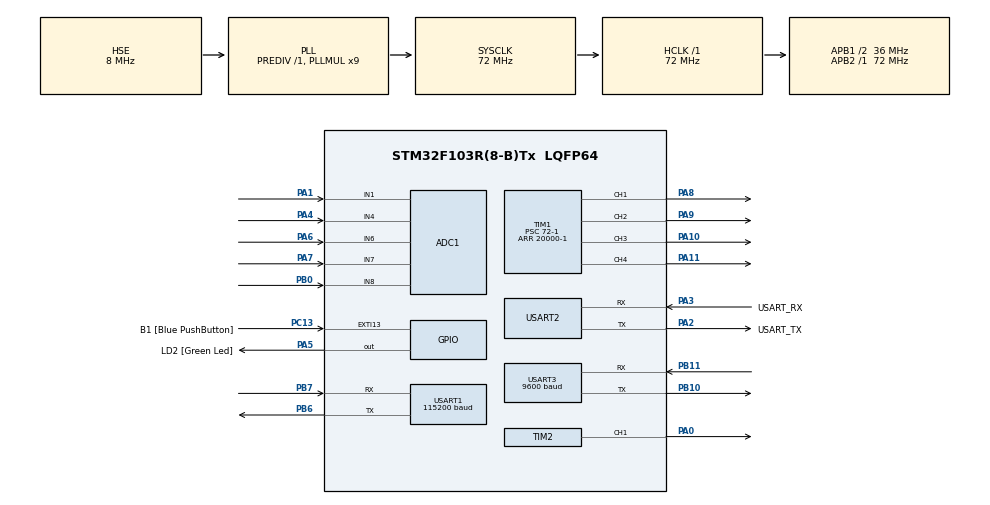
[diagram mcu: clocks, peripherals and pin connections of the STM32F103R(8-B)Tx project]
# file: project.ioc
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ADC1.Channel-0\#ChannelRegularConversion=ADC_CHANNEL_1
ADC1.Channel-1\#ChannelRegularConversion=ADC_CHANNEL_4
ADC1.Channel-2\#ChannelRegularConversion=ADC_CHANNEL_6
ADC1.Channel-3\#ChannelRegularConversion=ADC_CHANNEL_7
ADC1.Channel-4\#ChannelRegularConversion=ADC_CHANNEL_8
ADC1.ContinuousConvMode=ENABLE
ADC1.NbrOfConversion=5
ADC1.NbrOfConversionFlag=1
ADC1.Rank-0\#ChannelRegularConversion=1
ADC1.Rank-1\#ChannelRegularConversion=2
ADC1.Rank-2\#ChannelRegularConversion=3
ADC1.Rank-3\#ChannelRegularConversion=4
ADC1.Rank-4\#ChannelRegularConversion=5
ADC1.SamplingTime-0\#ChannelRegularConversion=ADC_SAMPLETIME_71CYCLES_5
ADC1.SamplingTime-1\#ChannelRegularConversion=ADC_SAMPLETIME_71CYCLES_5
ADC1.SamplingTime-2\#ChannelRegularConversion=ADC_SAMPLETIME_71CYCLES_5
ADC1.SamplingTime-3\#ChannelRegularConversion=ADC_SAMPLETIME_71CYCLES_5
ADC1.SamplingTime-4\#ChannelRegularConversion=ADC_SAMPLETIME_71CYCLES_5
ADC1.master=1
Dma.ADC1.0.Direction=DMA_PERIPH_TO_MEMORY
Dma.ADC1.0.Instance=DMA1_Channel1
Dma.ADC1.0.MemDataAlignment=DMA_MDATAALIGN_HALFWORD
Dma.ADC1.0.MemInc=DMA_MINC_ENABLE
Dma.ADC1.0.Mode=DMA_CIRCULAR
Dma.ADC1.0.PeriphDataAlignment=DMA_PDATAALIGN_HALFWORD
Dma.ADC1.0.PeriphInc=DMA_PINC_DISABLE
Dma.ADC1.0.Priority=DMA_PRIORITY_LOW
Dma.Request0=ADC1
Mcu.Family=STM32F1
Mcu.Name=STM32F103R(8-B)Tx
Mcu.Package=LQFP64
NVIC.ADC1_2_IRQn=true\:0\:0\:false\:false\:true\:true\:true\:true
NVIC.DMA1_Channel1_IRQn=true\:0\:0\:false\:false\:true\:false\:true\:true
NVIC.EXTI15_10_IRQn=true\:0\:0\:false\:false\:true\:true\:true\:true
NVIC.PriorityGroup=NVIC_PRIORITYGROUP_4
NVIC.USART1_IRQn=true\:0\:0\:false\:false\:true\:true\:true\:true
NVIC.USART2_IRQn=true\:0\:0\:false\:false\:true\:true\:true\:true
PA0-WKUP.Signal=S_TIM2_CH1_ETR
PA1.Signal=ADCx_IN1
PA10.Signal=S_TIM1_CH3
PA11.Signal=S_TIM1_CH4
PA13.GPIO_Label=TMS
PA13.Mode=Serial_Wire
PA13.Signal=SYS_JTMS-SWDIO
PA14.GPIO_Label=TCK
PA14.Mode=Serial_Wire
PA14.Signal=SYS_JTCK-SWCLK
PA2.GPIO_Label=USART_TX
PA2.GPIO_Mode=GPIO_MODE_AF_PP
PA2.GPIO_PuPd=GPIO_NOPULL
PA2.GPIO_Speed=GPIO_SPEED_FREQ_LOW
PA2.Mode=Asynchronous
PA2.Signal=USART2_TX
PA3.GPIO_Label=USART_RX
PA3.GPIO_Mode=GPIO_MODE_AF_PP
PA3.GPIO_PuPd=GPIO_NOPULL
PA3.GPIO_Speed=GPIO_SPEED_FREQ_LOW
PA3.Mode=Asynchronous
PA3.Signal=USART2_RX
PA4.Signal=ADCx_IN4
PA5.GPIO_Label=LD2 [Green Led]
PA5.GPIO_ModeDefaultOutputPP=GPIO_MODE_OUTPUT_PP
PA5.GPIO_PuPd=GPIO_NOPULL
PA5.GPIO_Speed=GPIO_SPEED_FREQ_LOW
PA5.Signal=GPIO_Output
PA6.Signal=ADCx_IN6
PA7.Signal=ADCx_IN7
PA8.Signal=S_TIM1_CH1
PA9.Signal=S_TIM1_CH2
PB0.Signal=ADCx_IN8
PB10.Mode=Asynchronous
PB10.Signal=USART3_TX
PB11.Mode=Asynchronous
PB11.Signal=USART3_RX
PB3.GPIO_Label=SWO
PB3.Signal=SYS_JTDO-TRACESWO
PB6.Mode=Asynchronous
PB6.Signal=USART1_TX
PB7.Mode=Asynchronous
PB7.Signal=USART1_RX
PC13-TAMPER-RTC.GPIO_Label=B1 [Blue PushButton]
PC13-TAMPER-RTC.GPIO_PuPd=GPIO_NOPULL
PC13-TAMPER-RTC.Signal=GPXTI13
PC14-OSC32_IN.Mode=LSE-External-Oscillator
PC14-OSC32_IN.Signal=RCC_OSC32_IN
PC15-OSC32_OUT.Mode=LSE-External-Oscillator
PC15-OSC32_OUT.Signal=RCC_OSC32_OUT
PD0-OSC_IN.Mode=HSE-External-Clock-Source
PD0-OSC_IN.Signal=RCC_OSC_IN
PD1-OSC_OUT.Mode=HSE-External-Clock-Source
PD1-OSC_OUT.Signal=RCC_OSC_OUT
ProjectManager.HeapSize=0x200
ProjectManager.StackSize=0x400
ProjectManager.TargetToolchain=STM32CubeIDE
RCC.ADCPresc=RCC_ADCPCLK2_DIV6
RCC.AHBFreq_Value=72000000
RCC.APB1CLKDivider=RCC_HCLK_DIV2
RCC.APB1Freq_Value=36000000
RCC.APB1TimFreq_Value=72000000
RCC.APB2Freq_Value=72000000
RCC.APB2TimFreq_Value=72000000
RCC.HCLKFreq_Value=72000000
RCC.PLLMUL=RCC_PLL_MUL9
RCC.PLLSourceVirtual=RCC_PLLSOURCE_HSE
RCC.RTCClockSelection=RCC_RTCCLKSOURCE_LSE
RCC.SYSCLKFreq_VALUE=72000000
RCC.SYSCLKSource=RCC_SYSCLKSOURCE_PLLCLK
RCC.USBFreq_Value=72000000
SH.ADCx_IN1.0=ADC1_IN1,IN1
SH.ADCx_IN4.0=ADC1_IN4,IN4
SH.ADCx_IN6.0=ADC1_IN6,IN6
SH.ADCx_IN7.0=ADC1_IN7,IN7
SH.ADCx_IN8.0=ADC1_IN8,IN8
SH.S_TIM1_CH1.0=TIM1_CH1,PWM Generation1 CH1
SH.S_TIM1_CH2.0=TIM1_CH2,PWM Generation2 CH2
SH.S_TIM1_CH3.0=TIM1_CH3,PWM Generation3 CH3
SH.S_TIM1_CH4.0=TIM1_CH4,PWM Generation4 CH4
SH.S_TIM2_CH1_ETR.0=TIM2_CH1,PWM Generation1 CH1
TIM1.AutoReloadPreload=TIM_AUTORELOAD_PRELOAD_ENABLE
TIM1.Channel-PWM\ Generation1\ CH1=TIM_CHANNEL_1
TIM1.Channel-PWM\ Generation2\ CH2=TIM_CHANNEL_2
TIM1.Channel-PWM\ Generation3\ CH3=TIM_CHANNEL_3
TIM1.Channel-PWM\ Generation4\ CH4=TIM_CHANNEL_4
TIM1.Period=20000-1
TIM1.Prescaler=72-1
TIM2.AutoReloadPreload=TIM_AUTORELOAD_PRELOAD_ENABLE
TIM2.Channel-PWM\ Generation1\ CH1=TIM_CHANNEL_1
TIM2.Period=20000-1
TIM2.Prescaler=72-1
USART1.BaudRate=115200
USART1.VirtualMode=VM_ASYNC
USART2.VirtualMode=VM_ASYNC
USART3.BaudRate=9600
USART3.VirtualMode=VM_ASYNC
VP_TIM1_VS_ClockSourceINT.Mode=Internal
VP_TIM2_VS_ClockSourceINT.Mode=Internal
board=NUCLEO-F103RB

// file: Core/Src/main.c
/* USER CODE BEGIN Header */
/**
  ******************************************************************************
  * @file           : main.c
  * @brief          : Main program body
  ******************************************************************************
  * @attention
  *
  * Copyright (c) 2025 STMicroelectronics.
  * All rights reserved.
  *
  * This software is licensed under terms that can be found in the LICENSE file
  * in the root directory of this software component.
  * If no LICENSE file comes with this software, it is provided AS-IS.
  *
  ******************************************************************************
  */
/* USER CODE END Header */
#include "main.h"

/* USER CODE BEGIN Includes */
#include <stdio.h>
#include <string.h>
#include <stdlib.h>
#include <math.h>
#include "ring_buffer.h"
/* USER CODE END Includes */

/* USER CODE BEGIN PTD */
typedef enum { TYPE_NONE=0, TYPE_CHO, TYPE_JUNG } InputType;

typedef struct { //입력된 자음 모음을 저장할 구조체
    InputType type; //타입이 초성인지 중성인지 종성인지
    int index; //실제 초성, 중성, 종성의 번호
} InputData;

typedef struct { //imu에서 데이터를 읽어서 저장할 구조체
    float roll, pitch, yaw; //자세(각도)
    float acc_x, acc_y, acc_z;  //가속도
    float gyro_x, gyro_y, gyro_z; //회전 각속도
    float mag_x, mag_y, mag_z; //자기장
} ImuData_t;

/* USER CODE END PTD */

/* USER CODE BEGIN PD */
#define STABLE_TIME 400
#define THRESHOLD 2000
#define MAX_INPUT 50

#define WT901C_RX_BUFFER_SIZE 1
#define WT_PACKET_SIZE        11
#define ACCEL_DATA_ID         0x51
#define GYRO_DATA_ID          0x52
#define ANGLE_DATA_ID         0x53
#define MAG_DATA_ID           0x54

// 서보모터 범위 (출력)
#define SERVO_MIN   500  // 0도, 폈을 때
#define SERVO_MAX   2500  // 180도, 구부렸을 때

// 센서 범위 (입력)
// (본인 센서 값: 2300=폄, 1600=굽힘)
#define ADC_FLAT    2300  // 0도일 때 센서 값
#define ADC_BENT    1600  // 180도일 때 센서 값
/* USER CODE END PD */

ADC_HandleTypeDef hadc1;
DMA_HandleTypeDef hdma_adc1;

TIM_HandleTypeDef htim1;
TIM_HandleTypeDef htim2;

UART_HandleTypeDef huart1;
UART_HandleTypeDef huart2;
UART_HandleTypeDef huart3;

/* USER CODE BEGIN PV */
/*** flex 변수 ***/
volatile uint16_t adc_values[5];
uint8_t rx_data_flex;
uint8_t send_flag = 0;

const int CHO_MAP[16] = {-1,0,2,3,5,6,7,9,11,12,14,15,16,17,18,-1};
const int JUNG_MAP[16] = {-1,0,2,4,6,8,12,13,17,18,20,1,5,-1,-1,-1};

InputData input_buffer[MAX_INPUT];
int input_idx = 0;

uint8_t sentence_buffer[100];
int sentence_idx = 0;

/*** IMU 변수 ***/
uint8_t wt901c_rx_buffer[1]; //imu에서 들어온 uart 8비트 임시 저장할 버퍼
RingBuffer imu_ring_buffer; //연속적으로 들어올 데이터 저장할 버퍼
ImuData_t imu_data = {0}; //최종 파싱된 값 저장
volatile uint8_t data_updated_flag = 0; //4종류 데이터 다 들어왔는지 체크할 플레그

volatile uint8_t send_count = 0;
volatile float assemble_roll = 0.0f;
volatile float curr;
volatile float base;
volatile float d;

/***자동완성 변수***/
typedef struct {
    const uint8_t *key;
    int key_len;
    const uint8_t *value;
    int value_len;
} MappingEntry;

//매핑 키
uint8_t key_annyeong[] = { 0xEC,0x95,0x88, 0xEB,0x85,0x95 }; // 안녕
uint8_t key_i[]    = {0xEC,0x9D,0xB4}; // 이
uint8_t key_an[]   = {0xEC,0x95,0x88}; // 안
uint8_t key_ip[]   = {0xEC,0x9E,0x85}; // 입
uint8_t key_iseung[] = {0xEC,0x9D,0xB4, 0xEC,0x8A,0xB9}; // 이승
uint8_t key_gamsa[]  = {0xEA,0xB0,0x90, 0xEC,0x82,0xAC}; // 감사

// 매핑 결과 값들
uint8_t val_annyeonghaseyo[] = { 0xEC,0x95,0x88, 0xEB,0x85,0x95, 0xED,0x95,0x98, 0xEC,0x84,0xB8, 0xEC,0x9A,0x94 }; // 안녕하세요
uint8_t val_i[]      = { 0xEC,0x9D,0xB4, 0xEC,0x9D,0x80, 0xEC,0xA7,0x80 }; // 이은지
uint8_t val_an[]     = { 0xEC,0x95,0x88, 0xED,0x95,0x9C, 0xEC,0x98,0x81 }; // 안한영
uint8_t val_ip[]     = { 0xEC,0x9E,0x85, 0xEB,0x8B,0x88, 0xEB,0x8B,0xA4 }; // 입니다
uint8_t val_iseung[] = { 0xEC,0x9D,0xB4, 0xEC,0x8A,0xB9, 0xED,0x99,0x98, 0xEA,0xB5,0x90, 0xEC,0x88,0x98, 0xEB,0x8B,0x98 }; // 이승환교수님
uint8_t val_gamsa[]  = { 0xEA,0xB0,0x90, 0xEC,0x82,0xAC, 0xED,0x95,0xA9, 0xEB,0x8B,0x88, 0xEB,0x8B,0xA4 }; // 감사합니다

MappingEntry table[] = {
    { key_annyeong, sizeof(key_annyeong), val_annyeonghaseyo, sizeof(val_annyeonghaseyo) },
    { key_i,        sizeof(key_i),        val_i,        sizeof(val_i)        },
    { key_an,       sizeof(key_an),       val_an,       sizeof(val_an)       },
    { key_ip,       sizeof(key_ip),       val_ip,       sizeof(val_ip)       },
    { key_iseung,   sizeof(key_iseung),   val_iseung,   sizeof(val_iseung)   },
    { key_gamsa,    sizeof(key_gamsa),    val_gamsa,    sizeof(val_gamsa)    }
};
int mapping_count = sizeof(table) / sizeof(table[0]);

//블루투스 전송을 위한 매핑
// 단독 초성 UTF-8 (최종 충돌 회피용 값으로 대체)
const uint8_t CHO_UTF8[19][3] = {
    {0xE3,0x84,0xB1},  // 0: ㄱ (U+3131)
    {0,0,0},           // 1: ㄲ (미사용)
    {0xE3,0x84,0xB4},  // 2: ㄴ (U+3134)
    {0xE3,0x84,0xB7},  // 3: ㄷ (U+3137)
    {0,0,0},           // 4: ㄸ (미사용)
    {0xE3,0x84,0xB9},  // 5: ㄹ (U+3139)
   {0xE1,0x84,0x86},  // 5: ㅁ (대체)
   {0xE1,0x84,0x87},  // 6: ㅂ (대체)
    {0,0,0},           // 8: ㅃ (미사용)
   {0xE1,0x84,0x89},  // 7: ㅅ (대체)
    {0,0,0},           // 10: ㅆ (미사용)
    {0xE3,0x85,0x87},  // 11: ㅇ (U+3147)
    {0xE3,0x85,0x88},  // 12: ㅈ (U+3148)
    {0,0,0},           // 13: ㅉ (미사용)
    {0xE3,0x85,0x8A},  // 14: ㅊ (U+314A)
    {0xE3,0x85,0x8B},  // 15: ㅋ (U+314B)
    {0xE3,0x85,0x8C},  // 16: ㅌ (U+314C)
    {0xE3,0x85,0x8D},  // 17: ㅍ (U+314D)
    {0xE3,0x85,0x8E}   // 18: ㅎ (U+314E)
};

//단독 중성 UTF-8
const uint8_t JUNG_UTF8[21][3] = {
    {0xE3,0x85,0x8F}, {0xE3,0x85,0x90}, {0xE3,0x85,0x91}, {0xE3,0x85,0x92}, {0xE3,0x85,0x93},  // 0:ㅏ 1:ㅐ 2:ㅑ 3:ㅒ 4:ㅓ
    {0xE3,0x85,0x94}, {0xE3,0x85,0x95}, {0xE3,0x85,0x96}, {0xE3,0x85,0x97}, {0xE3,0x85,0x98},  // 5:ㅔ 6:ㅕ 7:ㅖ 8:ㅗ 9:ㅘ
    {0xE3,0x85,0x99}, {0xE3,0x85,0x9A}, {0xE3,0x85,0x9B}, {0xE3,0x85,0x9C}, {0xE3,0x85,0x9D},  // 10:ㅙ 11:ㅚ 12:ㅛ 13:ㅜ 14:ㅝ
    {0xE3,0x85,0x9E}, {0xE3,0x85,0x9F}, {0xE3,0x85,0xA0}, {0xE3,0x85,0xA1}, {0xE3,0x85,0xA2},  // 15:ㅞ 16:ㅟ 17:ㅠ 18:ㅡ 19:ㅢ
    {0xE3,0x85,0xA3}                                                                           // 20:ㅣ
};

/* USER CODE END PV */

void SystemClock_Config(void);
static void MX_GPIO_Init(void);
static void MX_DMA_Init(void);
static void MX_USART2_UART_Init(void);
static void MX_ADC1_Init(void);
static void MX_USART1_UART_Init(void);
static void MX_TIM1_Init(void);
static void MX_TIM2_Init(void);
static void MX_USART3_UART_Init(void);
/* USER CODE BEGIN PFP */
/*** FLEX ***/
int get_finger_pattern(void);
void process_hand_gesture(void);
void assemble_and_send(void);
int cho_to_jong(int cho_idx);
void make_hangul_utf8(int cho, int jung, int jong, uint8_t* buf);

/*** IMU ***/
static void parse_imu_packets(void);

/*** 로봇손 동작제어 ***/
void update_robot_hand_linear(void);
long map(long x, long in_min, long in_max, long out_min, long out_max);
long constrain(long x, long a, long b);
/* USER CODE END PFP */

int main(void)
{

  /* MCU Configuration--------------------------------------------------------*/

  /* Reset of all peripherals, Initializes the Flash interface and the Systick. */
  HAL_Init();

  /* Configure the system clock */
  SystemClock_Config();

  /* Initialize all configured peripherals */
  MX_GPIO_Init();
  MX_DMA_Init();
  MX_USART2_UART_Init();
  MX_ADC1_Init();
  MX_USART1_UART_Init();
  MX_TIM1_Init();
  MX_TIM2_Init();
  MX_USART3_UART_Init();
  /* USER CODE BEGIN 2 */
  //FLEX 센서
  //5개 ADC를 DMA로 계속 읽음
  HAL_ADC_Start_DMA(&hadc1, (uint32_t*)adc_values, 5);
  HAL_UART_Receive_IT(&huart2, &rx_data_flex, 1); //PC 통신
  // IMU 센서
  //UART1으로 센서 값 받음
  RingBuffer_Init(&imu_ring_buffer); //링버퍼 초기화
  HAL_UART_Receive_IT(&huart1, wt901c_rx_buffer, 1); //UART 수신 대기 상태

  //IMU Write protocol
  // 1. Unlock
  uint8_t cmd_unlock[] = {0xFF, 0xAA, 0x69, 0x88, 0xB5};
  HAL_UART_Transmit(&huart1, cmd_unlock, 5, 100);
  HAL_Delay(100);

  // 2. 원하는 설정 변경 (예: 100Hz)
  uint8_t cmd_set_rate[] = {0xFF, 0xAA, 0x03, 0x0B, 0x00};
  HAL_UART_Transmit(&huart1, cmd_set_rate, 5, 100);
  HAL_Delay(100);

  uint8_t cmd_baud_rate[] = {0xFF, 0xAA, 0x04, 0x06, 0x00};
  HAL_UART_Transmit(&huart1, cmd_baud_rate, 5, 100);
  HAL_Delay(100);

  // 3. 변경된 설정 저장
  uint8_t cmd_save[] = {0xFF, 0xAA, 0x00, 0x00, 0x00};
  HAL_UART_Transmit(&huart1, cmd_save, 5, 100);
  HAL_Delay(100);

  // TIM1 (PA8, PA9, PA10, PA11)
  HAL_TIM_PWM_Start(&htim1, TIM_CHANNEL_1); // 엄저
  HAL_TIM_PWM_Start(&htim1, TIM_CHANNEL_2); // 검지
  HAL_TIM_PWM_Start(&htim1, TIM_CHANNEL_3); // 중지
  HAL_TIM_PWM_Start(&htim1, TIM_CHANNEL_4); // 약지

  // TIM2 (PA0)
  HAL_TIM_PWM_Start(&htim2, TIM_CHANNEL_1); // 새끼
  /* USER CODE END 2 */

  /* Infinite loop */
  /* USER CODE BEGIN WHILE */
  while (1)
  {
   // FLEX 센서
   process_hand_gesture(); // 손가락 패턴 읽고 2초 유지되면 자음이나 모음 하나를 input_buffer에 추가하는 동작을 함.

   if (send_flag == 1) //UART2에 1이 들어오면
   {
      send_flag = 0;
      assemble_and_send(); //지금까지 등록된 자음과 모음을 한글로 조합함.
      input_idx = 0;
      memset(input_buffer, 0, sizeof(input_buffer));

      //글자 조합할 때 roll 값 저장
      assemble_roll=imu_data.roll;
      send_count =0;
   }

   else if (send_flag == 2)
   {
       HAL_UART_Transmit(&huart2, (uint8_t*)"2\n", 2, 100);

       send_flag = 0;
       send_count =0;

       int eff_len = sentence_idx;

       //공백, 띄어쓰기 제거
       while (eff_len > 0 &&
             (sentence_buffer[eff_len - 1] == '\r' ||
              sentence_buffer[eff_len - 1] == '\n' ||
              sentence_buffer[eff_len - 1] == ' '))
       {
           eff_len--;
       }

       int replaced = 0;
       for (int i = 0; i < mapping_count; i++)
       {
          // 단축키일 때 전송
           if (eff_len == table[i].key_len &&
               memcmp(sentence_buffer, table[i].key, table[i].key_len) == 0) //키일 때
           {
               HAL_UART_Transmit(&huart2, table[i].value, table[i].value_len, 100);
               HAL_UART_Transmit(&huart3, table[i].value, table[i].value_len, 100);

               HAL_UART_Transmit(&huart2, (uint8_t*)"\r\n", 2, 100);
//               HAL_UART_Transmit(&huart3, (uint8_t*)"\r\n", 2, 100);
               replaced = 1;
               break;
           }
       }

       //기본 전송
       if (!replaced)
       {
           HAL_UART_Transmit(&huart2, sentence_buffer, eff_len, 100);
           HAL_UART_Transmit(&huart3, sentence_buffer, eff_len, 100);

           HAL_UART_Transmit(&huart2, (uint8_t*)"\r\n", 2, 100);
//           HAL_UART_Transmit(&huart3, (uint8_t*)"\r\n", 2, 100);

           HAL_Delay(100);
       }

       sentence_idx = 0;
       memset(sentence_buffer, 0, sizeof(sentence_buffer));
       send_count=0;
   }

   // IMU 센서
   parse_imu_packets(); //파싱 함수 호출. uart로 들어온 연속적인 데이터를 패킷 단위로 파싱.

   HAL_Delay(5);

   // IMU roll 기능
   curr= imu_data.roll;
   base = assemble_roll;

   d=curr-base;

   if(fabs(d)>=180.0f){
      send_count=1;
   }

   if(send_count) {
      send_flag=2;
   }

    /* USER CODE END WHILE */

  }
}

void SystemClock_Config(void)
{
  RCC_OscInitTypeDef RCC_OscInitStruct = {0};
  RCC_ClkInitTypeDef RCC_ClkInitStruct = {0};
  RCC_PeriphCLKInitTypeDef PeriphClkInit = {0};

  /** Initializes the RCC Oscillators according to the specified parameters
  * in the RCC_OscInitTypeDef structure.
  */
  RCC_OscInitStruct.OscillatorType = RCC_OSCILLATORTYPE_HSE;
  RCC_OscInitStruct.HSEState = RCC_HSE_BYPASS;
  RCC_OscInitStruct.HSEPredivValue = RCC_HSE_PREDIV_DIV1;
  RCC_OscInitStruct.HSIState = RCC_HSI_ON;
  RCC_OscInitStruct.PLL.PLLState = RCC_PLL_ON;
  RCC_OscInitStruct.PLL.PLLSource = RCC_PLLSOURCE_HSE;
  RCC_OscInitStruct.PLL.PLLMUL = RCC_PLL_MUL9;
  if (HAL_RCC_OscConfig(&RCC_OscInitStruct) != HAL_OK)
  {
    Error_Handler();
  }

  /** Initializes the CPU, AHB and APB buses clocks
  */
  RCC_ClkInitStruct.ClockType = RCC_CLOCKTYPE_HCLK|RCC_CLOCKTYPE_SYSCLK
                              |RCC_CLOCKTYPE_PCLK1|RCC_CLOCKTYPE_PCLK2;
  RCC_ClkInitStruct.SYSCLKSource = RCC_SYSCLKSOURCE_PLLCLK;
  RCC_ClkInitStruct.AHBCLKDivider = RCC_SYSCLK_DIV1;
  RCC_ClkInitStruct.APB1CLKDivider = RCC_HCLK_DIV2;
  RCC_ClkInitStruct.APB2CLKDivider = RCC_HCLK_DIV1;

  if (HAL_RCC_ClockConfig(&RCC_ClkInitStruct, FLASH_LATENCY_2) != HAL_OK)
  {
    Error_Handler();
  }
  PeriphClkInit.PeriphClockSelection = RCC_PERIPHCLK_ADC;
  PeriphClkInit.AdcClockSelection = RCC_ADCPCLK2_DIV6;
  if (HAL_RCCEx_PeriphCLKConfig(&PeriphClkInit) != HAL_OK)
  {
    Error_Handler();
  }
}

static void MX_ADC1_Init(void)
{

  ADC_ChannelConfTypeDef sConfig = {0};

  /** Common config
  */
  hadc1.Instance = ADC1;
  hadc1.Init.ScanConvMode = ADC_SCAN_ENABLE;
  hadc1.Init.ContinuousConvMode = ENABLE;
  hadc1.Init.DiscontinuousConvMode = DISABLE;
  hadc1.Init.ExternalTrigConv = ADC_SOFTWARE_START;
  hadc1.Init.DataAlign = ADC_DATAALIGN_RIGHT;
  hadc1.Init.NbrOfConversion = 5;
  if (HAL_ADC_Init(&hadc1) != HAL_OK)
  {
    Error_Handler();
  }

  /** Configure Regular Channel
  */
  sConfig.Channel = ADC_CHANNEL_1;
  sConfig.Rank = ADC_REGULAR_RANK_1;
  sConfig.SamplingTime = ADC_SAMPLETIME_71CYCLES_5;
  if (HAL_ADC_ConfigChannel(&hadc1, &sConfig) != HAL_OK)
  {
    Error_Handler();
  }

  /** Configure Regular Channel
  */
  sConfig.Channel = ADC_CHANNEL_4;
  sConfig.Rank = ADC_REGULAR_RANK_2;
  if (HAL_ADC_ConfigChannel(&hadc1, &sConfig) != HAL_OK)
  {
    Error_Handler();
  }

  /** Configure Regular Channel
  */
  sConfig.Channel = ADC_CHANNEL_6;
  sConfig.Rank = ADC_REGULAR_RANK_3;
  if (HAL_ADC_ConfigChannel(&hadc1, &sConfig) != HAL_OK)
  {
    Error_Handler();
  }

  /** Configure Regular Channel
  */
  sConfig.Channel = ADC_CHANNEL_7;
  sConfig.Rank = ADC_REGULAR_RANK_4;
  if (HAL_ADC_ConfigChannel(&hadc1, &sConfig) != HAL_OK)
  {
    Error_Handler();
  }

  /** Configure Regular Channel
  */
  sConfig.Channel = ADC_CHANNEL_8;
  sConfig.Rank = ADC_REGULAR_RANK_5;
  if (HAL_ADC_ConfigChannel(&hadc1, &sConfig) != HAL_OK)
  {
    Error_Handler();
  }

}

static void MX_TIM1_Init(void)
{

  TIM_ClockConfigTypeDef sClockSourceConfig = {0};
  TIM_MasterConfigTypeDef sMasterConfig = {0};
  TIM_OC_InitTypeDef sConfigOC = {0};
  TIM_BreakDeadTimeConfigTypeDef sBreakDeadTimeConfig = {0};

  htim1.Instance = TIM1;
  htim1.Init.Prescaler = 72-1;
  htim1.Init.CounterMode = TIM_COUNTERMODE_UP;
  htim1.Init.Period = 20000-1;
  htim1.Init.ClockDivision = TIM_CLOCKDIVISION_DIV1;
  htim1.Init.RepetitionCounter = 0;
  htim1.Init.AutoReloadPreload = TIM_AUTORELOAD_PRELOAD_ENABLE;
  if (HAL_TIM_Base_Init(&htim1) != HAL_OK)
  {
    Error_Handler();
  }
  sClockSourceConfig.ClockSource = TIM_CLOCKSOURCE_INTERNAL;
  if (HAL_TIM_ConfigClockSource(&htim1, &sClockSourceConfig) != HAL_OK)
  {
    Error_Handler();
  }
  if (HAL_TIM_PWM_Init(&htim1) != HAL_OK)
  {
    Error_Handler();
  }
  sMasterConfig.MasterOutputTrigger = TIM_TRGO_RESET;
  sMasterConfig.MasterSlaveMode = TIM_MASTERSLAVEMODE_DISABLE;
  if (HAL_TIMEx_MasterConfigSynchronization(&htim1, &sMasterConfig) != HAL_OK)
  {
    Error_Handler();
  }
  sConfigOC.OCMode = TIM_OCMODE_PWM1;
  sConfigOC.Pulse = 0;
  sConfigOC.OCPolarity = TIM_OCPOLARITY_HIGH;
  sConfigOC.OCNPolarity = TIM_OCNPOLARITY_HIGH;
  sConfigOC.OCFastMode = TIM_OCFAST_DISABLE;
  sConfigOC.OCIdleState = TIM_OCIDLESTATE_RESET;
  sConfigOC.OCNIdleState = TIM_OCNIDLESTATE_RESET;
  if (HAL_TIM_PWM_ConfigChannel(&htim1, &sConfigOC, TIM_CHANNEL_1) != HAL_OK)
  {
    Error_Handler();
  }
  if (HAL_TIM_PWM_ConfigChannel(&htim1, &sConfigOC, TIM_CHANNEL_2) != HAL_OK)
  {
    Error_Handler();
  }
  if (HAL_TIM_PWM_ConfigChannel(&htim1, &sConfigOC, TIM_CHANNEL_3) != HAL_OK)
  {
    Error_Handler();
  }
  if (HAL_TIM_PWM_ConfigChannel(&htim1, &sConfigOC, TIM_CHANNEL_4) != HAL_OK)
  {
    Error_Handler();
  }
  sBreakDeadTimeConfig.OffStateRunMode = TIM_OSSR_DISABLE;
  sBreakDeadTimeConfig.OffStateIDLEMode = TIM_OSSI_DISABLE;
  sBreakDeadTimeConfig.LockLevel = TIM_LOCKLEVEL_OFF;
  sBreakDeadTimeConfig.DeadTime = 0;
  sBreakDeadTimeConfig.BreakState = TIM_BREAK_DISABLE;
  sBreakDeadTimeConfig.BreakPolarity = TIM_BREAKPOLARITY_HIGH;
  sBreakDeadTimeConfig.AutomaticOutput = TIM_AUTOMATICOUTPUT_DISABLE;
  if (HAL_TIMEx_ConfigBreakDeadTime(&htim1, &sBreakDeadTimeConfig) != HAL_OK)
  {
    Error_Handler();
  }
  HAL_TIM_MspPostInit(&htim1);

}

static void MX_TIM2_Init(void)
{

  TIM_ClockConfigTypeDef sClockSourceConfig = {0};
  TIM_MasterConfigTypeDef sMasterConfig = {0};
  TIM_OC_InitTypeDef sConfigOC = {0};

  htim2.Instance = TIM2;
  htim2.Init.Prescaler = 72-1;
  htim2.Init.CounterMode = TIM_COUNTERMODE_UP;
  htim2.Init.Period = 20000-1;
  htim2.Init.ClockDivision = TIM_CLOCKDIVISION_DIV1;
  htim2.Init.AutoReloadPreload = TIM_AUTORELOAD_PRELOAD_ENABLE;
  if (HAL_TIM_Base_Init(&htim2) != HAL_OK)
  {
    Error_Handler();
  }
  sClockSourceConfig.ClockSource = TIM_CLOCKSOURCE_INTERNAL;
  if (HAL_TIM_ConfigClockSource(&htim2, &sClockSourceConfig) != HAL_OK)
  {
    Error_Handler();
  }
  if (HAL_TIM_PWM_Init(&htim2) != HAL_OK)
  {
    Error_Handler();
  }
  sMasterConfig.MasterOutputTrigger = TIM_TRGO_RESET;
  sMasterConfig.MasterSlaveMode = TIM_MASTERSLAVEMODE_DISABLE;
  if (HAL_TIMEx_MasterConfigSynchronization(&htim2, &sMasterConfig) != HAL_OK)
  {
    Error_Handler();
  }
  sConfigOC.OCMode = TIM_OCMODE_PWM1;
  sConfigOC.Pulse = 0;
  sConfigOC.OCPolarity = TIM_OCPOLARITY_HIGH;
  sConfigOC.OCFastMode = TIM_OCFAST_DISABLE;
  if (HAL_TIM_PWM_ConfigChannel(&htim2, &sConfigOC, TIM_CHANNEL_1) != HAL_OK)
  {
    Error_Handler();
  }
  HAL_TIM_MspPostInit(&htim2);

}

static void MX_USART1_UART_Init(void)
{

  huart1.Instance = USART1;
  huart1.Init.BaudRate = 115200;
  huart1.Init.WordLength = UART_WORDLENGTH_8B;
  huart1.Init.StopBits = UART_STOPBITS_1;
  huart1.Init.Parity = UART_PARITY_NONE;
  huart1.Init.Mode = UART_MODE_TX_RX;
  huart1.Init.HwFlowCtl = UART_HWCONTROL_NONE;
  huart1.Init.OverSampling = UART_OVERSAMPLING_16;
  if (HAL_UART_Init(&huart1) != HAL_OK)
  {
    Error_Handler();
  }

}

static void MX_USART2_UART_Init(void)
{

  huart2.Instance = USART2;
  huart2.Init.BaudRate = 115200;
  huart2.Init.WordLength = UART_WORDLENGTH_8B;
  huart2.Init.StopBits = UART_STOPBITS_1;
  huart2.Init.Parity = UART_PARITY_NONE;
  huart2.Init.Mode = UART_MODE_TX_RX;
  huart2.Init.HwFlowCtl = UART_HWCONTROL_NONE;
  huart2.Init.OverSampling = UART_OVERSAMPLING_16;
  if (HAL_UART_Init(&huart2) != HAL_OK)
  {
    Error_Handler();
  }

}

static void MX_USART3_UART_Init(void)
{

  huart3.Instance = USART3;
  huart3.Init.BaudRate = 9600;
  huart3.Init.WordLength = UART_WORDLENGTH_8B;
  huart3.Init.StopBits = UART_STOPBITS_1;
  huart3.Init.Parity = UART_PARITY_NONE;
  huart3.Init.Mode = UART_MODE_TX_RX;
  huart3.Init.HwFlowCtl = UART_HWCONTROL_NONE;
  huart3.Init.OverSampling = UART_OVERSAMPLING_16;
  if (HAL_UART_Init(&huart3) != HAL_OK)
  {
    Error_Handler();
  }

}

static void MX_DMA_Init(void)
{

  /* DMA controller clock enable */
  __HAL_RCC_DMA1_CLK_ENABLE();

  /* DMA interrupt init */
  /* DMA1_Channel1_IRQn interrupt configuration */
  HAL_NVIC_SetPriority(DMA1_Channel1_IRQn, 0, 0);
  HAL_NVIC_EnableIRQ(DMA1_Channel1_IRQn);

}

static void MX_GPIO_Init(void)
{
  GPIO_InitTypeDef GPIO_InitStruct = {0};

  /* GPIO Ports Clock Enable */
  __HAL_RCC_GPIOC_CLK_ENABLE();
  __HAL_RCC_GPIOD_CLK_ENABLE();
  __HAL_RCC_GPIOA_CLK_ENABLE();
  __HAL_RCC_GPIOB_CLK_ENABLE();

  /*Configure GPIO pin Output Level */
  HAL_GPIO_WritePin(LD2_GPIO_Port, LD2_Pin, GPIO_PIN_RESET);

  /*Configure GPIO pin : B1_Pin */
  GPIO_InitStruct.Pin = B1_Pin;
  GPIO_InitStruct.Mode = GPIO_MODE_IT_RISING;
  GPIO_InitStruct.Pull = GPIO_NOPULL;
  HAL_GPIO_Init(B1_GPIO_Port, &GPIO_InitStruct);

  /*Configure GPIO pin : LD2_Pin */
  GPIO_InitStruct.Pin = LD2_Pin;
  GPIO_InitStruct.Mode = GPIO_MODE_OUTPUT_PP;
  GPIO_InitStruct.Pull = GPIO_NOPULL;
  GPIO_InitStruct.Speed = GPIO_SPEED_FREQ_LOW;
  HAL_GPIO_Init(LD2_GPIO_Port, &GPIO_InitStruct);

  /* EXTI interrupt init*/
  HAL_NVIC_SetPriority(EXTI15_10_IRQn, 0, 0);
  HAL_NVIC_EnableIRQ(EXTI15_10_IRQn);

}

/* USER CODE BEGIN 4 */
void HAL_UART_RxCpltCallback(UART_HandleTypeDef *huart)
{

    // IMU UART1
    if (huart->Instance == USART1)
    {
        RingBuffer_Write(&imu_ring_buffer, wt901c_rx_buffer[0]);
        //RingBuffer_Write() 함수 호출. imu가 보낸 신호 wt901c_rx_buffer[0] 값을 &imu_ring_buffer에 저장.
        HAL_UART_Receive_IT(&huart1, wt901c_rx_buffer, 1);
    }
}

//IMU 파싱코드

void parse_imu_packets(void)
{
    uint8_t header[2];
    uint8_t data_bytes[8];
    uint8_t sum;
    uint8_t check_sum = 0;

    // 패킷 헤더(0x55)가 나타날 때까지 링버퍼를 읽음
    while (RingBuffer_GetCount(&imu_ring_buffer) >= WT_PACKET_SIZE)
    {
       //RingBuffer_GetCount() 함수: 콜백함수에서 입력 받은 &imu_ring_buffer가 WT_PACKET_SIZE, 11바이트일 경우 실행

       //RingBuffer_Peek() 함수: 링버퍼 안에서 꺼내지 않고 특정 위치의 값을 미리 보는 함수
        header[0] = RingBuffer_Peek(&imu_ring_buffer, 0); //첫번째 바이트 확인해서 header[0]에 넣기
        header[1] = RingBuffer_Peek(&imu_ring_buffer, 1); //두번째 바이트 확인해서 header[1]에 넣기

        if (header[0] != 0x55) //첫 바이트, 헤더가 0x55가 아닐 경우 검사
        {
            RingBuffer_Read(&imu_ring_buffer); // 잘못된 헤더면 한 바이트 버림
            continue;
        }

        // 헤더 두 바이트 버림
        RingBuffer_Read(&imu_ring_buffer);
        RingBuffer_Read(&imu_ring_buffer);

        //체크 썸 시작
        check_sum = header[0] + header[1];

        // 8바이트 데이터와 1바이트 체크섬 읽기
        for (int i = 0; i < 8; i++)
        {
            if (RingBuffer_IsEmpty(&imu_ring_buffer)) return;
            data_bytes[i] = RingBuffer_Read(&imu_ring_buffer);
            //&imu_ring_buffer 값 읽어서 전부 data_bytes[] 배열에 넣음
            check_sum += data_bytes[i];
            //체크썸 계산에 포함
        }

        if (RingBuffer_IsEmpty(&imu_ring_buffer)) return;
        sum = RingBuffer_Read(&imu_ring_buffer);

        if (check_sum != sum) //계산한 체크썸이랑 sum이랑 다르면 잘못된 패킷. 버림.
           continue;

        //DATAL, DATAH 결합해서 16bit raw Data 만들기
        int16_t x_raw = (data_bytes[1] << 8) | data_bytes[0];
        int16_t y_raw = (data_bytes[3] << 8) | data_bytes[2];
        int16_t z_raw = (data_bytes[5] << 8) | data_bytes[4];

        //TYPE 값 따라 데이터 계산하도록
        switch (header[1])
        {
            case ANGLE_DATA_ID: //0x53
                imu_data.roll  = x_raw / 32768.0f * 180.0f;
                imu_data.pitch = y_raw / 32768.0f * 180.0f;
                imu_data.yaw   = z_raw / 32768.0f * 180.0f;
                data_updated_flag |= 0x01;
                break;

            case ACCEL_DATA_ID: //0x51
                imu_data.acc_x = x_raw / 32768.0f * 16.0f;
                imu_data.acc_y = y_raw / 32768.0f * 16.0f;
                imu_data.acc_z = z_raw / 32768.0f * 16.0f;
                data_updated_flag |= 0x02;
                break;

            case GYRO_DATA_ID: //0x52
                imu_data.gyro_x = x_raw / 32768.0f * 2000.0f;
                imu_data.gyro_y = y_raw / 32768.0f * 2000.0f;
                imu_data.gyro_z = z_raw / 32768.0f * 2000.0f;
                data_updated_flag |= 0x04;
                break;

            case MAG_DATA_ID: //0x54
                imu_data.mag_x = x_raw / 32768.0f * 4912.0f;
                imu_data.mag_y = y_raw / 32768.0f * 4912.0f;
                imu_data.mag_z = z_raw / 32768.0f * 4912.0f;
                data_updated_flag |= 0x08;
                break;
        }
    }
}

/*******************************************************************************
   FLEX 기능
*******************************************************************************/
int get_finger_pattern(void)
{
   //각 adc마다 문턱전압 1.6V 이하로 내려가면 = 굽힘 = 패턴 값 바꿈
    int pattern = 0;
    if (adc_values[1] < THRESHOLD) pattern |= 1; //0001
    if (adc_values[2] < THRESHOLD) pattern |= 2; //0010
    if (adc_values[3] < THRESHOLD * 0.9) pattern |= 4; //0100
    if (adc_values[4] < THRESHOLD) pattern |= 8; //1000
    return pattern;
    // 1번(검지) 2번(중지) 굽히면 0001+0010=0011, 즉 패턴 3번.
}

void process_hand_gesture(void)
{
   update_robot_hand_linear();

    if (adc_values[0] < THRESHOLD &&  // 엄지
        adc_values[1] < THRESHOLD &&  // 검지
        adc_values[2] < THRESHOLD &&  // 중지
        adc_values[3] < THRESHOLD &&  // 약지
        adc_values[4] < THRESHOLD)    // 새끼
    {
        send_flag = 1;
        return;   // 자음·모음 인식 코드 실행 안 함
    }

    static int last_pattern = 0;
    static int last_mode = -1;
    static uint32_t stable_start_tick = 0;
    static int is_registered = 0;

    //get_finger_pattern 함수에서 패턴 값 받아옴.
    int curr_pattern = get_finger_pattern();
    //0번(엄지) 값으로 mode 결정
    int curr_mode = (adc_values[0] < THRESHOLD);

    //전부 펼친 상태. 리셋.
    if (curr_pattern == 0)
    {
        last_pattern = 0;
        last_mode = -1;
        stable_start_tick = 0;
        is_registered = 0;
        return;
    }

    if (curr_pattern == last_pattern && curr_mode == last_mode)
    {
       //현재 패턴이 지난 패턴과 동일한 지 확인.
        if (is_registered == 0)
        {
            if (HAL_GetTick() - stable_start_tick >= STABLE_TIME)
               //그 상태가 2초동안 유지되면 입력으로 판단함.
            {
                if (input_idx < MAX_INPUT)
                {
                    int mapped_idx = -1;
                    InputType type = TYPE_NONE;

                    //adc_values[0]으로 자음 모음 타입 구분
                    if (curr_mode == 0)
                    {
                        mapped_idx = CHO_MAP[curr_pattern];
                        type = TYPE_CHO;
                    }
                    else
                    {
                        mapped_idx = JUNG_MAP[curr_pattern];
                        type = TYPE_JUNG;
                    }

                    if (mapped_idx != -1)
                    {
                        input_buffer[input_idx].type = type;
                        input_buffer[input_idx].index = mapped_idx;
                        input_idx++;

                        ///////////바로바로 자음 모음 전송///////////
                        if (type == TYPE_CHO)
                        {
                            HAL_UART_Transmit(&huart2, CHO_UTF8[mapped_idx], 3, 100);
                        }
                        else if (type == TYPE_JUNG)
                        {
                            HAL_UART_Transmit(&huart2, JUNG_UTF8[mapped_idx], 3, 100);
                        }
                    }
                }
                is_registered = 1;
            }
        }
    }

    //손 모양이 바꼈을 경우, 새로운 입력 시작
    else
    {
        last_pattern = curr_pattern;
        last_mode = curr_mode;
        stable_start_tick = HAL_GetTick();
        is_registered = 0;
    }
}

void assemble_and_send(void)
{
    int i = 0;
    uint8_t utf8_char[5];

    while (i < input_idx)
    {
       //input_buffer안에 자음 모음이 쌓여 있음.
        if (input_buffer[i].type == TYPE_CHO &&
            (i+1 < input_idx) &&
            input_buffer[i+1].type == TYPE_JUNG)
           //초성+종성 조합이면
        {
            int cho = input_buffer[i].index; //초성 인덱스를 cho에 저장
            int jung = input_buffer[i+1].index; //중성 인덱스를 jung에 저장
            int jong = 0; //초성+중성 조합이니까 받침은 없음.
            int consumed = 2;

            //뒤에 받침이 있는지 검사
            if ((i+2 < input_idx) && input_buffer[i+2].type == TYPE_CHO)
            {
               //cho_to_jong으로 세번째 자음이 종성이 가능한지 확인해서 t에 저장.
                int t = cho_to_jong(input_buffer[i+2].index);
                if (t != 0)
                {
                   //가능하면 t값이 jong이 됨.
                    jong = t;
                    consumed = 3;
                }
            }

            //UTF-8로 변환.
            make_hangul_utf8(cho, jung, jong, utf8_char);
            // UART2에 글자 출력
            HAL_UART_Transmit(&huart2, utf8_char, 3, 100);

            if (sentence_idx + 3 < 100)
            {
              //UTF-8 변환한 결과를 sentence_buffer에 저장함.
              memcpy(&sentence_buffer[sentence_idx], utf8_char, 3);
              sentence_idx += 3;
            }

            i += consumed;
        }
        else
        {
            i++;
        }
    }

    HAL_UART_Transmit(&huart2, (uint8_t*)"\r\n", 2, 100);
}

int cho_to_jong(int cho_idx)
{
   //초성을 종성으로 변환하는 함수. 초성 중성 배열만 있고 종성은 없었으니까.
    switch(cho_idx) {
        case 0: return 1;
        case 2: return 4;
        case 3: return 7;
        case 5: return 8;
        case 6: return 16;
        case 7: return 17;
        case 9: return 19;
        case 11: return 21;
        case 12: return 22;
        case 14: return 23;
        case 15: return 24;
        case 16: return 25;
        case 17: return 26;
        case 18: return 27;
        default: return 0;
    }
}

void make_hangul_utf8(int cho, int jung, int jong, uint8_t* buf)
{
   //유니코드 만드는 공식
    uint16_t unicode = 0xAC00 + (cho * 588) + (jung * 28) + jong;

    //UTF-8로 변환
    buf[0] = 0xE0 | ((unicode >> 12) & 0x0F);
    buf[1] = 0x80 | ((unicode >> 6) & 0x3F);
    buf[2] = 0x80 | (unicode & 0x3F);
    buf[3] = '\0';
}

/*******************************************************************************
  서보 모터
*******************************************************************************/

//adc 값을 pwm duty 값으로 변환
long map(long x, long in_min, long in_max, long out_min, long out_max) {
    return (x - in_min) * (out_max - out_min) / (in_max - in_min) + out_min;
    // adc_values[] 값이 ADC_FLAT에서부터 얼마나 떨어져 있는지 계산하고 입력 값이 전체 범위에서 몇 % 지점인지 계산할 것.
}

//범위 제한
long constrain(long x, long a, long b) {
    if (x < a) return a;
    if (x > b) return b;
    return x;
}

// 로봇 손 제어
void update_robot_hand_linear(void)
{
    for (int i = 0; i < 5; i++)
    {
        long adc_val = adc_values[i];

        // 맵핑: 2300(폄) -> 1000(0도), 1600(굽힘) -> 2000(180도)
        // map 함수로 입력값(2300~1600)을 출력값(1000~2000)으로 변환해서 pulse 변수에 저장.
        // ADC_FLAT은 0도 일 때 센서 값, ADC_BENT는 180도 일 때 센서 값.
        long pulse = map(adc_val, ADC_FLAT, ADC_BENT, SERVO_MIN, SERVO_MAX);

        // 펄스 값이 서보모터 허용 범위(1000~2000)를 벗어나지 않도록 제한하고 다시 pulse 변수에 저장.
        pulse = constrain(pulse, SERVO_MIN, SERVO_MAX);

        // map 함수로 계산한 PWM 펄스값을 타이머에 넣음
        switch (i)
        {
            case 0: __HAL_TIM_SET_COMPARE(&htim1, TIM_CHANNEL_1, pulse); break; // 엄지 (PA8)
            case 1: __HAL_TIM_SET_COMPARE(&htim1, TIM_CHANNEL_2, pulse); break; // 검지 (PA9)
            case 2: __HAL_TIM_SET_COMPARE(&htim1, TIM_CHANNEL_3, pulse); break; // 중지 (PA10)
            case 3: __HAL_TIM_SET_COMPARE(&htim1, TIM_CHANNEL_4, pulse); break; // 약지 (PA11)
            case 4: __HAL_TIM_SET_COMPARE(&htim2, TIM_CHANNEL_1, pulse); break; // 새끼 (PB6)
        }
    }
}
/* USER CODE END 4 */

void Error_Handler(void)
{
  __disable_irq();
  while (1)
  {
  }
}
